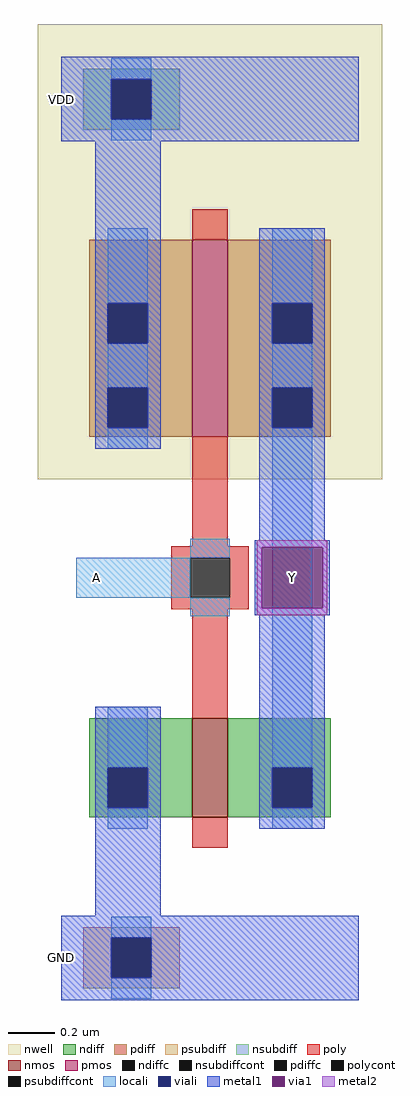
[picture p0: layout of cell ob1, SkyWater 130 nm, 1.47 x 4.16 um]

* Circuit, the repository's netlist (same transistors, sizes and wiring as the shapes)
* NGSPICE file created from ob1.ext - technology: sky130A

.subckt ob1 A Y VDD GND
X0 Y A GND GND sky130_fd_pr__nfet_01v8 ad=0.1848 pd=1.72 as=0.1848 ps=1.72 w=0.42 l=0.15
X1 Y A VDD VDD sky130_fd_pr__pfet_01v8 ad=0.3696 pd=2.56 as=0.3696 ps=2.56 w=0.84 l=0.15
.ends

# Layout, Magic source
magic
tech sky130A
magscale 1 2
<< nwell >>
rect 0 408 294 796
<< nmos >>
rect 132 120 162 204
<< pmos >>
rect 132 444 162 612
<< ndiff >>
rect 44 162 132 204
rect 44 128 60 162
rect 94 128 132 162
rect 44 120 132 128
rect 162 162 250 204
rect 162 128 200 162
rect 234 128 250 162
rect 162 120 250 128
<< pdiff >>
rect 44 558 132 612
rect 44 524 60 558
rect 94 524 132 558
rect 44 486 132 524
rect 44 452 60 486
rect 94 452 132 486
rect 44 444 132 452
rect 162 558 250 612
rect 162 524 200 558
rect 234 524 250 558
rect 162 486 250 524
rect 162 452 200 486
rect 234 452 250 486
rect 162 444 250 452
<< ndiffc >>
rect 60 128 94 162
rect 200 128 234 162
<< pdiffc >>
rect 60 524 94 558
rect 60 452 94 486
rect 200 524 234 558
rect 200 452 234 486
<< psubdiff >>
rect 39 17 121 26
rect 39 -17 63 17
rect 97 -17 121 17
rect 39 -26 121 -17
<< nsubdiff >>
rect 39 749 121 758
rect 39 715 63 749
rect 97 715 121 749
rect 39 706 121 715
<< psubdiffcont >>
rect 63 -17 97 17
<< nsubdiffcont >>
rect 63 715 97 749
<< poly >>
rect 132 612 162 638
rect 132 351 162 444
rect 114 341 180 351
rect 114 307 130 341
rect 164 307 180 341
rect 114 297 180 307
rect 132 204 162 297
rect 132 94 162 120
<< polycont >>
rect 130 307 164 341
<< locali >>
rect 63 749 97 767
rect 63 697 97 715
rect 60 558 94 622
rect 60 486 94 524
rect 60 434 94 452
rect 200 558 234 622
rect 200 486 234 524
rect 130 341 164 357
rect 33 307 130 341
rect 130 291 164 307
rect 60 162 94 214
rect 60 110 94 128
rect 200 162 234 452
rect 200 110 234 128
rect 63 17 97 35
rect 63 -35 97 -17
<< viali >>
rect 63 715 97 749
rect 60 524 94 558
rect 60 452 94 486
rect 200 524 234 558
rect 200 452 234 486
rect 60 128 94 162
rect 200 128 234 162
rect 63 -17 97 17
<< metal1 >>
rect 20 749 274 768
rect 20 715 63 749
rect 97 715 274 749
rect 20 696 274 715
rect 49 558 105 696
rect 49 524 60 558
rect 94 524 105 558
rect 49 486 105 524
rect 49 452 60 486
rect 94 452 105 486
rect 49 434 105 452
rect 189 558 245 622
rect 189 524 200 558
rect 234 524 245 558
rect 189 486 245 524
rect 189 452 200 486
rect 234 452 245 486
rect 189 356 245 452
rect 185 350 249 356
rect 185 298 191 350
rect 243 298 249 350
rect 185 292 249 298
rect 49 162 105 214
rect 49 128 60 162
rect 94 128 105 162
rect 49 36 105 128
rect 189 162 245 292
rect 189 128 200 162
rect 234 128 245 162
rect 189 110 245 128
rect 20 17 274 36
rect 20 -17 63 17
rect 97 -17 274 17
rect 20 -36 274 -17
<< via1 >>
rect 191 298 243 350
<< metal2 >>
rect 187 350 247 356
rect 187 298 191 350
rect 243 298 247 350
rect 187 292 247 298
<< labels >>
rlabel locali 50 324 50 324 0 A
port 1 nsew
rlabel via1 217 324 217 324 0 Y
port 2 nsew
rlabel metal1 20 732 20 732 0 VDD
port 3 nsew
rlabel metal1 20 0 20 0 0 GND
port 4 nsew
<< end >>
